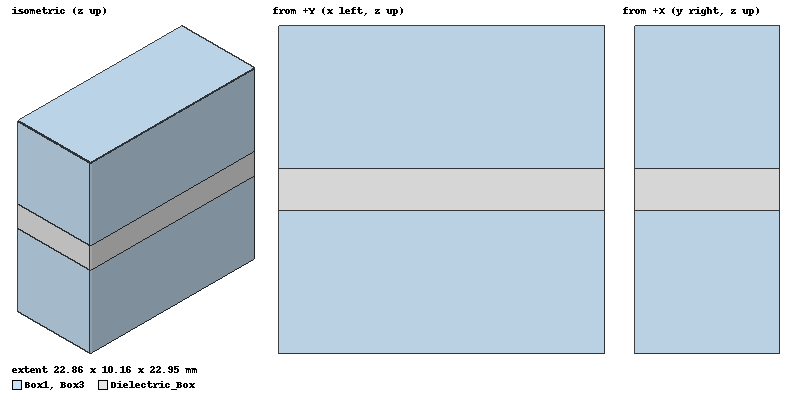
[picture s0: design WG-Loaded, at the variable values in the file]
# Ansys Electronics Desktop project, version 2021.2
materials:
  vacuum: permittivity=1
  Dielectirc: permittivity=4 permeability=1

design HFSSDesign1 (HFSS, DrivenModal, model units mm)
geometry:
  Box1 [vacuum] = box(corner=(0mm, 0mm, 0mm), size=(22.86mm, 10.16mm, 20mm))
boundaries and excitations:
  PORT1: Wave Port Faces=Box1.face(-z) NumModes=1 Modes{Mode1{IntLine{middle of Box1.edge(6 of 12) -> middle of Box1.edge(8 of 12)} CharImp=Zpi}}
  PORT2: Wave Port Faces=Box1.face(+z) NumModes=1 Modes{Mode1{IntLine{middle of Box1.edge(4 of 12) -> middle of Box1.edge(2 of 12)} CharImp=Zpi}}
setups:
  2D_1: HfssDriven Frequency=11.5GHz MaxDeltaS=0.02 MaximumPasses=6 MinimumPasses=1 MinimumConvergedPasses=1 PercentRefinement=30 BasisOrder=1 PortAccuracy=2
  2D_2: HfssDriven Frequency=6GHz MaxDeltaS=0.01 MaximumPasses=6 MinimumPasses=1 MinimumConvergedPasses=1 PercentRefinement=30 BasisOrder=1 PortAccuracy=2
  3D: HfssDriven Frequency=11.5GHz MaxDeltaS=0.01 MaximumPasses=6 MinimumPasses=1 MinimumConvergedPasses=1 PercentRefinement=30 BasisOrder=1 PortAccuracy=2
    sweep Sweep: 6GHz to 13GHz, 401 points; Type=Interpolating InterpTolerance=0.5 InterpMaxSolns=250 InterpUsePortImped=false PassivityErrorTolerance=0.0001
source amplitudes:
  PORT1:1: 1W 0deg
  PORT2:1: 0W 0deg
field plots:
  Mag_E1: E Field in Box1 on 3D : LastAdaptive at Freq=11.5GHz Phase=0deg
  Mag_E2: E Field over Box1.face(-z) on 2D_2 : LastAdaptive at Freq=6GHz Phase=0deg
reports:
  S Parameter Plot 1: dB(S(PORT1,PORT1)), dB(S(PORT2,PORT1)) vs Freq on 3D : Sweep

design WG-1PORT (HFSS, DrivenModal, model units mm)
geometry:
  Box1 [vacuum] = box(corner=(0mm, 0mm, 0mm), size=(22.86mm, 10.16mm, 20mm))
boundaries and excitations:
  PORT1: Wave Port Faces=Box1.face(-z) NumModes=1 Modes{Mode1{IntLine{middle of Box1.edge(6 of 12) -> middle of Box1.edge(8 of 12)} CharImp=Zpi}}
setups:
  2D_1: HfssDriven Frequency=11.5GHz MaxDeltaS=0.02 MaximumPasses=6 MinimumPasses=1 MinimumConvergedPasses=1 PercentRefinement=30 BasisOrder=1 PortAccuracy=2
  3D: HfssDriven Frequency=11.5GHz MaxDeltaS=0.01 MaximumPasses=6 MinimumPasses=1 MinimumConvergedPasses=1 PercentRefinement=30 BasisOrder=1 PortAccuracy=2
    sweep Sweep: 6GHz to 13GHz, 401 points; Type=Interpolating InterpTolerance=0.5 InterpMaxSolns=250 InterpUsePortImped=false PassivityErrorTolerance=0.0001
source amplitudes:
  PORT1:1: 1W 0deg
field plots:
  Mag_E1: E Field in Box1 on 3D : LastAdaptive at Freq=11.5GHz Phase=0deg
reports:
  S Parameter Plot 1: dB(S(PORT1,PORT1)) vs Freq on 3D : Sweep

design Circ2Ports (HFSS, DrivenModal, model units mm)
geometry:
  Cylinder1 [vacuum] = cylinder(axis=Z, base_centre=(0mm, 0mm, 0mm), radius=13.895mm, height=60mm)
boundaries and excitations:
  PORT1: Wave Port Faces=Cylinder1.face(2 of 3) NumModes=2 UseLineModeAlignment Modes{Mode1{IntLine{middle of Cylinder1.edge(1 of 2) -> Cylinder1.vertex(1 of 2)} CharImp=Zpi} Mode2{IntLine{Cylinder1.edge(1 of 2) at 0.25 along -> Cylinder1.edge(1 of 2) at -0.25 along} CharImp=Zpi}}
  PORT2: Wave Port Faces=Cylinder1.face(3 of 3) NumModes=2 UseLineModeAlignment Modes{Mode1{IntLine{middle of Cylinder1.edge(2 of 2) -> Cylinder1.vertex(2 of 2)} CharImp=Zpi} Mode2{IntLine{Cylinder1.edge(2 of 2) at 0.25 along -> Cylinder1.edge(2 of 2) at -0.25 along} CharImp=Zpi}}
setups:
  Setup1: HfssDriven Frequency=10GHz MaxDeltaS=0.01 MaximumPasses=10 MinimumPasses=1 MinimumConvergedPasses=1 PercentRefinement=30 BasisOrder=1 PortAccuracy=2
    sweep Sweep: 6GHz to 12GHz, 60 points; Type=Interpolating InterpTolerance=0.5 InterpMaxSolns=250 InterpUsePortImped=false PassivityErrorTolerance=0.0001
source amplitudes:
  PORT1:1: 1W 0deg
  PORT1:2, PORT2:1, PORT2:2: 0W 0deg
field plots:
  Mag_E1: E Field in Cylinder1 on Setup1 : LastAdaptive at Freq=10GHz Phase=0deg
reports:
  S Parameter Plot 1: dB(S(PORT1:1,PORT1:1)), dB(S(PORT1:1,PORT1:2)), dB(S(PORT1:1,PORT2:1)), dB(S(PORT1:1,PORT2:2)) vs Freq on Setup1 : Sweep

design WG-Loaded (HFSS, DrivenModal, model units mm)
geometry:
  Box1 [vacuum] = box(corner=(0mm, 0mm, 0mm), size=(22.86mm, 10.16mm, 10mm))
  Dielectric_Box [Dielectirc] = box(corner=(0mm, 0mm, 10mm), size=(22.86mm, 10.16mm, 2.95mm))
  Box3 [vacuum] = box(corner=(0mm, 0mm, 12.95mm), size=(22.86mm, 10.16mm, 10mm))
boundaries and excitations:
  Port1: Wave Port Faces=Box1.face(-z) NumModes=1 DeembedDist=10mm Modes{Mode1{CharImp=Zpi}}
  Port2: Wave Port Faces=Box3.face(+z) NumModes=1 DeembedDist=10mm Modes{Mode1{CharImp=Zpi}}
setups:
  2D_1: HfssDriven Frequency=12GHz MaxDeltaS=0.01 MaximumPasses=6 MinimumPasses=1 MinimumConvergedPasses=1 PercentRefinement=30 BasisOrder=1 PortAccuracy=2
  3D: HfssDriven Frequency=12GHz MaxDeltaS=0.01 MaximumPasses=6 MinimumPasses=1 MinimumConvergedPasses=1 PercentRefinement=30 BasisOrder=1 PortAccuracy=2
    sweep Sweep: 8GHz to 12GHz, 40 points; Type=Interpolating InterpTolerance=0.5 InterpMaxSolns=250 InterpUsePortImped=false PassivityErrorTolerance=0.0001
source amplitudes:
  Port1:1: 1W 0deg
  Port2:1: 0W 0deg
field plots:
  Mag_E1: E Field in Box1, Dielectric_Box, Box3 on 3D : LastAdaptive at Freq=12GHz Phase=0deg
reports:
  S Parameter Plot 1: dB(S(Port1,Port1)), dB(S(Port2,Port1)) vs Freq on 3D : Sweep
